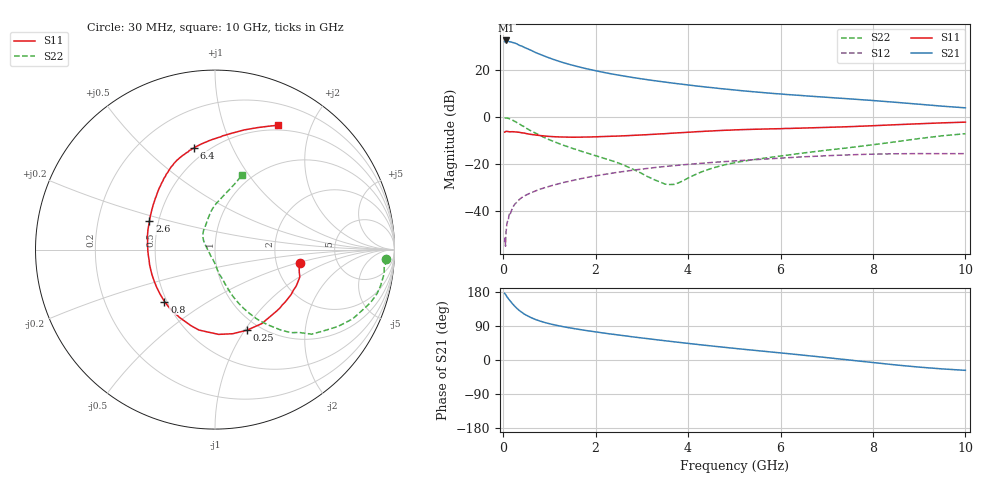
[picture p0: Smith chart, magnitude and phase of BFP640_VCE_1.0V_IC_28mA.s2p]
! (c) 2013  Infineon Technologies AG, Munich
! Infineon Technologies  Discrete & RF Semiconductors
! BFP640
! VCE =  1.0 V,  IC =  28 mA
! Common Emitter S-Parameters:  Apr 2013
# GHz  S  MA  R  50
!  f  S11  S21  S12  S22
! GHz  MAG  ANG  MAG  ANG  MAG  ANG  MAG  ANG
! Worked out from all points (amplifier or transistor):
!   99 points, 30 MHz to 10 GHz, reference 50 ohm
!   highest |S21| = 32.5 dB at 70 MHz (marker M1)
!   |S21| within 3 dB of that: start of sweep to 463.9 MHz
!   unconditionally stable (mu >= 1): 2.058 GHz to end of sweep
!   at 350 MHz: K = 0.34, MSG = 32.7 dB, |S12| = -35.0 dB
!   at 3.5 GHz: K = 1.06, MAG = 16.4 dB, |S12| = -21.0 dB
!   at 10 GHz: K = 1.08, MAG = 8.0 dB, |S12| = -15.6 dB
!   S11 on the Smith chart (normalised r, x): 30 MHz: 2.71, -0.54; 250 MHz: 0.87, -1.02; 800 MHz: 0.49, -0.34; 2.6 GHz: 0.45, +0.17; 6.4 GHz: 0.43, +0.72; 10 GHz: 0.44, +1.54
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0.03  0.4778 -9.3  39.99 175.8  0.0022 80.1  0.9525 -3.2
0.07  0.4957 -21.3  42.35 169.1  0.0043 77.5  0.95 -9.1
0.09  0.492 -27.4  41.65 165.3  0.0059 70.2  0.9447 -12.1
0.15  0.4849 -45.0  39.81 156.0  0.0086 76.9  0.9015 -20.6
0.2  0.4878 -57.7  38.46 148.3  0.0117 71.4  0.8587 -26.7
0.25  0.4831 -68.4  37.31 141.9  0.0141 69.8  0.8081 -32.0
0.3  0.479 -78.1  35.67 135.8  0.0156 64.5  0.7577 -36.6
0.35  0.4728 -87.5  33.34 130.5  0.0177 64.9  0.7153 -41.2
0.4  0.4615 -94.6  32.21 126.1  0.0194 62.7  0.6574 -44.6
0.5  0.4448 -107.4  28.89 118.2  0.0221 59.9  0.5775 -50.8
0.7  0.4147 -126.9  23.46 106.8  0.0269 57.5  0.4535 -58.8
0.8  0.4036 -134.2  21.39 102.6  0.0293 57.3  0.4041 -61.6
1  0.3869 -147.1  17.97 95.8  0.0337 56.1  0.3284 -66.1
1.2  0.378 -158.2  15.35 90.3  0.0381 56.0  0.274 -69.3
1.7  0.3741 -178.6  11.21 79.6  0.0494 53.8  0.1857 -74.4
2.6  0.3982 156.6  7.453 64.3  0.0694 48.2  0.0955 -86.2
3.4  0.4376 139.6  5.692 52.3  0.0867 41.7  0.0414 -127.4
5.1  0.5362 114.2  3.674 29.5  0.1184 26.9  0.111 127.1
6.4  0.5782 101.5  2.89 13.9  0.1408 15.4  0.1673 105.0
6.7  0.5907 98.1  2.749 10.1  0.1457 12.5  0.182 101.6
8.5  0.6863 76.3  2.051 -13.1  0.1656 -6.0  0.2986 81.7
10  0.7779 63.0  1.566 -27.3  0.1667 -17.6  0.4413 70.3
